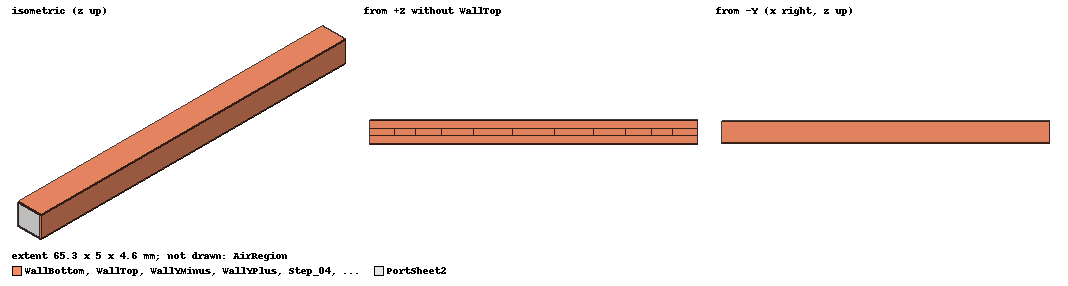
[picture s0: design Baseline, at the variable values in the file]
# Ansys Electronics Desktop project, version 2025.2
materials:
  vacuum: permittivity=1
  copper: permeability=0.999991 conductivity=58000000
  air: permittivity=1.0006 permeability=1.0000004

design Baseline (HFSS, HFSS Modal Network, model units mm)
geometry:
  WallBottom [copper] = box(corner=(0mm, -2.5mm, -2.3mm), size=(65.3mm, 5mm, 0.2mm))
  WallTop [copper] = box(corner=(0mm, -2.5mm, 2.1mm), size=(65.3mm, 5mm, 0.2mm))
  WallYMinus [copper] = box(corner=(0mm, -2.5mm, -2.1mm), size=(65.3mm, 0.2mm, 4.2mm))
  WallYPlus [copper] = box(corner=(0mm, 2.3mm, -2.1mm), size=(65.3mm, 0.2mm, 4.2mm))
  InputFeed [copper] = box(corner=(0mm, -0.6mm, -0.1mm), size=(5mm, 1.2mm, 0.2mm))
  Step_01 [copper] = box(corner=(5mm, -0.6mm, -0.06mm), size=(4.2538462mm, 1.2mm, 0.12mm))
  Step_02 [copper] = box(corner=(9.2538462mm, -0.6mm, -0.175mm), size=(5.1046154mm, 1.2mm, 0.35mm))
  Step_03 [copper] = box(corner=(14.358462mm, -0.6mm, -0.06mm), size=(6.3807692mm, 1.2mm, 0.12mm))
  Step_04 [copper] = box(corner=(20.739231mm, -0.6mm, -0.175mm), size=(7.6569231mm, 1.2mm, 0.35mm))
  Step_05 [copper] = box(corner=(28.396154mm, -0.6mm, -0.06mm), size=(8.5076923mm, 1.2mm, 0.12mm))
  Step_06 [copper] = box(corner=(36.903846mm, -0.6mm, -0.175mm), size=(7.6569231mm, 1.2mm, 0.35mm))
  Step_07 [copper] = box(corner=(44.560769mm, -0.6mm, -0.06mm), size=(6.3807692mm, 1.2mm, 0.12mm))
  Step_08 [copper] = box(corner=(50.941538mm, -0.6mm, -0.175mm), size=(5.1046154mm, 1.2mm, 0.35mm))
  Step_09 [copper] = box(corner=(56.046154mm, -0.6mm, -0.06mm), size=(4.2538462mm, 1.2mm, 0.12mm))
  OutputFeed [copper] = box(corner=(60.3mm, -0.6mm, -0.1mm), size=(5mm, 1.2mm, 0.2mm))
  AirRegion [air] = region(percentage_offset: +X=0, -X=20, +Y=20, -Y=20, +Z=20, -Z=20)
  PortSheet1 = rectangle(corner=(0mm, -2.3mm, -2.1mm), y_size=4.6mm, z_size=4.2mm)
  PortSheet2 = rectangle(corner=(65.3mm, -2.3mm, -2.1mm), y_size=4.6mm, z_size=4.2mm)
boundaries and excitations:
  Port1: Wave Port Objects=PortSheet1 WavePortType=Modal NumModes=2 Modes{Mode1{CharImp=Zpi RenormImp=50ohm} Mode2{CharImp=Zpi RenormImp=50ohm}}
  Port2: Wave Port Objects=PortSheet2 WavePortType=Modal NumModes=2 Modes{Mode1{CharImp=Zpi RenormImp=50ohm} Mode2{CharImp=Zpi RenormImp=50ohm}}
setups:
  Setup1: HfssDriven Frequency=20GHz MaxDeltaS=0.02 MaximumPasses=12 MinimumPasses=2 MinimumConvergedPasses=1 PercentRefinement=30 BasisOrder=1 PortAccuracy=2 DrivenSolverType="Direct Solver"
    sweep Sweep1: 0.1GHz to 40GHz, 400 points; Type=Interpolating InterpTolerance=0.5 InterpMaxSolns=250 InterpUsePortImped=false PassivityErrorTolerance=0.0001
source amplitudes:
  Port1:1: 1W 0deg
  Port1:2, Port2:1, Port2:2: 0W 0deg
